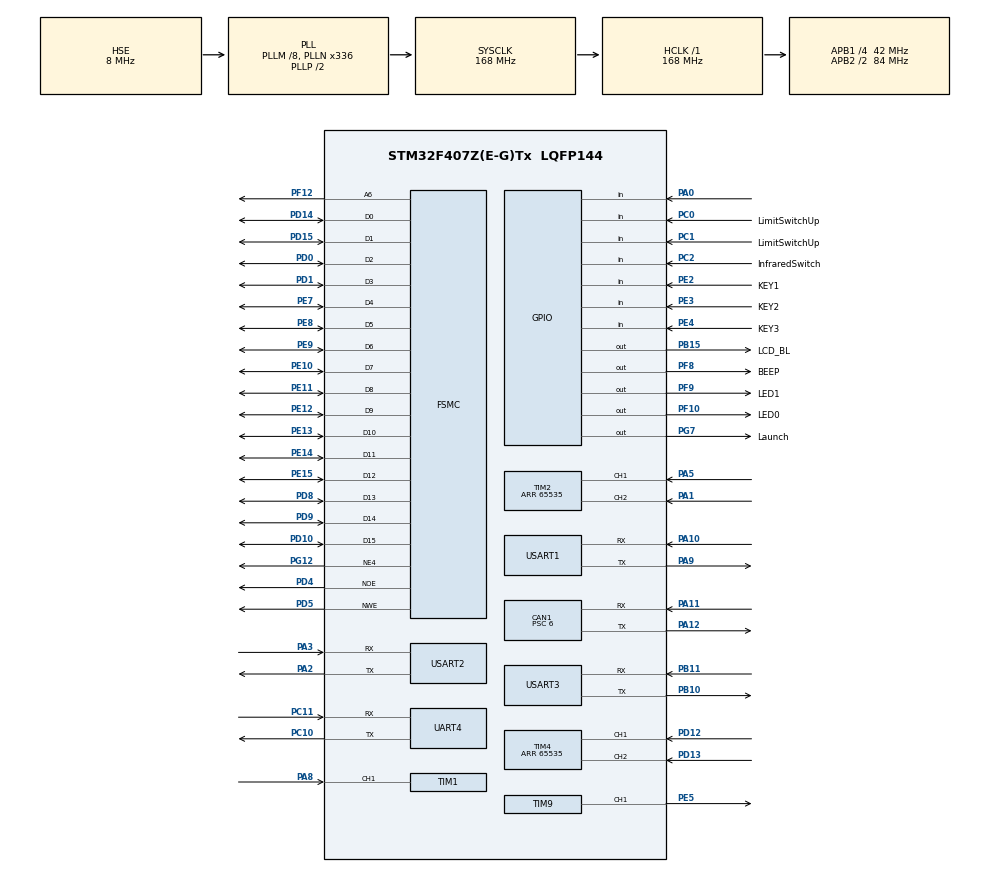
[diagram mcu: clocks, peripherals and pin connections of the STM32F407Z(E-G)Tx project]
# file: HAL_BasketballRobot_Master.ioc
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CAN1.ABOM=ENABLE
CAN1.BS1=CAN_BS1_2TQ
CAN1.BS2=CAN_BS2_4TQ
CAN1.CalculateTimeQuantum=142.85714285714286
CAN1.Prescaler=6
CAN1.TXFP=ENABLE
FSMC.BusTurnAroundDuration1=0
FSMC.DataSetupTime1=60
FSMC.ExtendedAddressSetupTime1=3
FSMC.ExtendedBusTurnAroundDuration1=0
FSMC.ExtendedDataSetupTime1=2
FSMC.ExtendedMode1=FSMC_EXTENDED_MODE_ENABLE
Mcu.Family=STM32F4
Mcu.Name=STM32F407Z(E-G)Tx
Mcu.Package=LQFP144
NVIC.CAN1_RX0_IRQn=true\:0\:3\:true\:false\:true\:true
NVIC.CAN1_TX_IRQn=true\:0\:0\:false\:false\:true\:true
NVIC.PriorityGroup=NVIC_PRIORITYGROUP_2
NVIC.TIM1_CC_IRQn=true\:0\:2\:false\:false\:true\:true
NVIC.TIM1_UP_TIM10_IRQn=true\:0\:3\:false\:false\:true\:true
NVIC.TIM5_IRQn=true\:0\:1\:true\:false\:true\:true
NVIC.UART4_IRQn=true\:1\:1\:true\:false\:true\:true
NVIC.USART1_IRQn=true\:0\:2\:true\:false\:true\:true
NVIC.USART2_IRQn=true\:0\:0\:true\:false\:true\:true
NVIC.USART3_IRQn=true\:0\:1\:true\:false\:true\:true
PA0-WKUP.GPIO_Mode=GPIO_MODE_INPUT
PA0-WKUP.GPIO_PuPd=GPIO_NOPULL
PA0-WKUP.Signal=GPIO_Input
PA1.GPIO_ModeDefaultPP=GPIO_MODE_AF_PP
PA1.GPIO_PuPd=GPIO_NOPULL
PA1.GPIO_Speed=GPIO_SPEED_FREQ_LOW
PA1.Signal=S_TIM2_CH2
PA10.Mode=Asynchronous
PA10.Signal=USART1_RX
PA11.GPIO_Mode=GPIO_MODE_AF_PP
PA11.GPIO_PuPd=GPIO_NOPULL
PA11.GPIO_Speed=GPIO_SPEED_FREQ_VERY_HIGH
PA11.Mode=Master
PA11.Signal=CAN1_RX
PA12.GPIO_Mode=GPIO_MODE_AF_PP
PA12.GPIO_PuPd=GPIO_NOPULL
PA12.GPIO_Speed=GPIO_SPEED_FREQ_VERY_HIGH
PA12.Mode=Master
PA12.Signal=CAN1_TX
PA13.Mode=JTAG_5_pins
PA13.Signal=SYS_JTMS-SWDIO
PA14.Mode=JTAG_5_pins
PA14.Signal=SYS_JTCK-SWCLK
PA15.Mode=JTAG_5_pins
PA15.Signal=SYS_JTDI
PA2.Mode=Asynchronous
PA2.Signal=USART2_TX
PA3.Mode=Asynchronous
PA3.Signal=USART2_RX
PA5.GPIO_ModeDefaultPP=GPIO_MODE_AF_PP
PA5.GPIO_PuPd=GPIO_NOPULL
PA5.GPIO_Speed=GPIO_SPEED_FREQ_LOW
PA5.Signal=S_TIM2_CH1_ETR
PA8.GPIO_ModeDefaultPP=GPIO_MODE_AF_PP
PA8.GPIO_PuPd=GPIO_NOPULL
PA8.GPIO_Speed=GPIO_SPEED_FREQ_LOW
PA8.Signal=S_TIM1_CH1
PA9.Mode=Asynchronous
PA9.Signal=USART1_TX
PB10.Mode=Asynchronous
PB10.Signal=USART3_TX
PB11.Mode=Asynchronous
PB11.Signal=USART3_RX
PB15.GPIO_Label=LCD_BL
PB15.GPIO_ModeDefaultOutputPP=GPIO_MODE_OUTPUT_PP
PB15.GPIO_PuPd=GPIO_PULLUP
PB15.GPIO_Speed=GPIO_SPEED_FREQ_HIGH
PB15.PinState=GPIO_PIN_RESET
PB15.Signal=GPIO_Output
PB3.Mode=JTAG_5_pins
PB3.Signal=SYS_JTDO-SWO
PB4.Mode=JTAG_5_pins
PB4.Signal=SYS_JTRST
PC0.GPIO_Label=LimitSwitchUp
PC0.GPIO_Mode=GPIO_MODE_INPUT
PC0.GPIO_PuPd=GPIO_PULLUP
PC0.Signal=GPIO_Input
PC1.GPIO_Label=LimitSwitchUp
PC1.GPIO_Mode=GPIO_MODE_INPUT
PC1.GPIO_PuPd=GPIO_PULLUP
PC1.Signal=GPIO_Input
PC10.Mode=Asynchronous
PC10.Signal=UART4_TX
PC11.Mode=Asynchronous
PC11.Signal=UART4_RX
PC2.GPIO_Label=InfraredSwitch
PC2.GPIO_Mode=GPIO_MODE_INPUT
PC2.GPIO_PuPd=GPIO_PULLUP
PC2.Signal=GPIO_Input
PD0.GPIO_Mode=GPIO_MODE_AF_PP
PD0.GPIO_PuPd=GPIO_PULLUP
PD0.GPIO_Speed_High_Default=GPIO_SPEED_FREQ_VERY_HIGH
PD0.Signal=FSMC_D2_DA2
PD1.GPIO_Mode=GPIO_MODE_AF_PP
PD1.GPIO_PuPd=GPIO_PULLUP
PD1.GPIO_Speed_High_Default=GPIO_SPEED_FREQ_VERY_HIGH
PD1.Signal=FSMC_D3_DA3
PD10.GPIO_Mode=GPIO_MODE_AF_PP
PD10.GPIO_PuPd=GPIO_PULLUP
PD10.GPIO_Speed_High_Default=GPIO_SPEED_FREQ_VERY_HIGH
PD10.Signal=FSMC_D15_DA15
PD12.GPIO_ModeDefaultPP=GPIO_MODE_AF_PP
PD12.GPIO_PuPd=GPIO_NOPULL
PD12.GPIO_Speed=GPIO_SPEED_FREQ_LOW
PD12.Signal=S_TIM4_CH1
PD13.GPIO_ModeDefaultPP=GPIO_MODE_AF_PP
PD13.GPIO_PuPd=GPIO_NOPULL
PD13.GPIO_Speed=GPIO_SPEED_FREQ_LOW
PD13.Signal=S_TIM4_CH2
PD14.GPIO_Mode=GPIO_MODE_AF_PP
PD14.GPIO_PuPd=GPIO_PULLUP
PD14.GPIO_Speed_High_Default=GPIO_SPEED_FREQ_VERY_HIGH
PD14.Signal=FSMC_D0_DA0
PD15.GPIO_Mode=GPIO_MODE_AF_PP
PD15.GPIO_PuPd=GPIO_PULLUP
PD15.GPIO_Speed_High_Default=GPIO_SPEED_FREQ_VERY_HIGH
PD15.Signal=FSMC_D1_DA1
PD4.GPIO_Mode=GPIO_MODE_AF_PP
PD4.GPIO_PuPd=GPIO_PULLUP
PD4.GPIO_Speed_High_Default=GPIO_SPEED_FREQ_VERY_HIGH
PD4.Signal=FSMC_NOE
PD5.GPIO_Mode=GPIO_MODE_AF_PP
PD5.GPIO_PuPd=GPIO_PULLUP
PD5.GPIO_Speed_High_Default=GPIO_SPEED_FREQ_VERY_HIGH
PD5.Signal=FSMC_NWE
PD8.GPIO_Mode=GPIO_MODE_AF_PP
PD8.GPIO_PuPd=GPIO_PULLUP
PD8.GPIO_Speed_High_Default=GPIO_SPEED_FREQ_VERY_HIGH
PD8.Signal=FSMC_D13_DA13
PD9.GPIO_Mode=GPIO_MODE_AF_PP
PD9.GPIO_PuPd=GPIO_PULLUP
PD9.GPIO_Speed_High_Default=GPIO_SPEED_FREQ_VERY_HIGH
PD9.Signal=FSMC_D14_DA14
PE10.GPIO_Mode=GPIO_MODE_AF_PP
PE10.GPIO_PuPd=GPIO_PULLUP
PE10.GPIO_Speed_High_Default=GPIO_SPEED_FREQ_VERY_HIGH
PE10.Signal=FSMC_D7_DA7
PE11.GPIO_Mode=GPIO_MODE_AF_PP
PE11.GPIO_PuPd=GPIO_PULLUP
PE11.GPIO_Speed_High_Default=GPIO_SPEED_FREQ_VERY_HIGH
PE11.Signal=FSMC_D8_DA8
PE12.GPIO_Mode=GPIO_MODE_AF_PP
PE12.GPIO_PuPd=GPIO_PULLUP
PE12.GPIO_Speed_High_Default=GPIO_SPEED_FREQ_VERY_HIGH
PE12.Signal=FSMC_D9_DA9
PE13.GPIO_Mode=GPIO_MODE_AF_PP
PE13.GPIO_PuPd=GPIO_PULLUP
PE13.GPIO_Speed_High_Default=GPIO_SPEED_FREQ_VERY_HIGH
PE13.Signal=FSMC_D10_DA10
PE14.GPIO_Mode=GPIO_MODE_AF_PP
PE14.GPIO_PuPd=GPIO_PULLUP
PE14.GPIO_Speed_High_Default=GPIO_SPEED_FREQ_VERY_HIGH
PE14.Signal=FSMC_D11_DA11
PE15.GPIO_Mode=GPIO_MODE_AF_PP
PE15.GPIO_PuPd=GPIO_PULLUP
PE15.GPIO_Speed_High_Default=GPIO_SPEED_FREQ_VERY_HIGH
PE15.Signal=FSMC_D12_DA12
PE2.GPIO_Label=KEY1
PE2.GPIO_Mode=GPIO_MODE_INPUT
PE2.GPIO_PuPd=GPIO_NOPULL
PE2.Signal=GPIO_Input
PE3.GPIO_Label=KEY2
PE3.GPIO_Mode=GPIO_MODE_INPUT
PE3.GPIO_PuPd=GPIO_NOPULL
PE3.Signal=GPIO_Input
PE4.GPIO_Label=KEY3
PE4.GPIO_Mode=GPIO_MODE_INPUT
PE4.GPIO_PuPd=GPIO_NOPULL
PE4.Signal=GPIO_Input
PE5.GPIO_ModeDefaultPP=GPIO_MODE_AF_PP
PE5.GPIO_PuPd=GPIO_PULLUP
PE5.GPIO_Speed=GPIO_SPEED_FREQ_HIGH
PE5.Signal=S_TIM9_CH1
PE7.GPIO_Mode=GPIO_MODE_AF_PP
PE7.GPIO_PuPd=GPIO_PULLUP
PE7.GPIO_Speed_High_Default=GPIO_SPEED_FREQ_VERY_HIGH
PE7.Signal=FSMC_D4_DA4
PE8.GPIO_Mode=GPIO_MODE_AF_PP
PE8.GPIO_PuPd=GPIO_PULLUP
PE8.GPIO_Speed_High_Default=GPIO_SPEED_FREQ_VERY_HIGH
PE8.Signal=FSMC_D5_DA5
PE9.GPIO_Mode=GPIO_MODE_AF_PP
PE9.GPIO_PuPd=GPIO_PULLUP
PE9.GPIO_Speed_High_Default=GPIO_SPEED_FREQ_VERY_HIGH
PE9.Signal=FSMC_D6_DA6
PF10.GPIO_Label=LED0
PF10.GPIO_ModeDefaultOutputPP=GPIO_MODE_OUTPUT_PP
PF10.GPIO_PuPd=GPIO_PULLUP
PF10.GPIO_Speed=GPIO_SPEED_FREQ_HIGH
PF10.PinState=GPIO_PIN_RESET
PF10.Signal=GPIO_Output
PF12.GPIO_Mode=GPIO_MODE_AF_PP
PF12.GPIO_PuPd=GPIO_PULLUP
PF12.GPIO_Speed_High_Default=GPIO_SPEED_FREQ_VERY_HIGH
PF12.Signal=FSMC_A6
PF8.GPIO_Label=BEEP
PF8.GPIO_ModeDefaultOutputPP=GPIO_MODE_OUTPUT_PP
PF8.GPIO_PuPd=GPIO_PULLUP
PF8.GPIO_Speed=GPIO_SPEED_FREQ_HIGH
PF8.PinState=GPIO_PIN_RESET
PF8.Signal=GPIO_Output
PF9.GPIO_Label=LED1
PF9.GPIO_ModeDefaultOutputPP=GPIO_MODE_OUTPUT_PP
PF9.GPIO_PuPd=GPIO_PULLUP
PF9.GPIO_Speed=GPIO_SPEED_FREQ_HIGH
PF9.PinState=GPIO_PIN_RESET
PF9.Signal=GPIO_Output
PG12.GPIO_Mode=GPIO_MODE_AF_PP
PG12.GPIO_PuPd=GPIO_PULLUP
PG12.GPIO_Speed_High_Default=GPIO_SPEED_FREQ_VERY_HIGH
PG12.Mode=NorPsramChipSelect4_1
PG12.Signal=FSMC_NE4
PG7.GPIO_Label=Launch
PG7.GPIO_ModeDefaultOutputPP=GPIO_MODE_OUTPUT_PP
PG7.GPIO_PuPd=GPIO_PULLUP
PG7.GPIO_Speed=GPIO_SPEED_FREQ_HIGH
PG7.PinState=GPIO_PIN_RESET
PG7.Signal=GPIO_Output
PH0-OSC_IN.Mode=HSE-External-Oscillator
PH0-OSC_IN.Signal=RCC_OSC_IN
PH1-OSC_OUT.Mode=HSE-External-Oscillator
PH1-OSC_OUT.Signal=RCC_OSC_OUT
ProjectManager.HeapSize=0x200
ProjectManager.StackSize=0x400
ProjectManager.TargetToolchain=MDK-ARM V5
RCC.48MHZClocksFreq_Value=84000000
RCC.AHBFreq_Value=168000000
RCC.APB1CLKDivider=RCC_HCLK_DIV4
RCC.APB1Freq_Value=42000000
RCC.APB1TimFreq_Value=84000000
RCC.APB2CLKDivider=RCC_HCLK_DIV2
RCC.APB2Freq_Value=84000000
RCC.APB2TimFreq_Value=168000000
RCC.CortexFreq_Value=168000000
RCC.HCLKFreq_Value=168000000
RCC.HSE_VALUE=8000000
RCC.HSI_VALUE=16000000
RCC.LSE_VALUE=32768
RCC.PLLM=8
RCC.PLLN=336
RCC.PLLSourceVirtual=RCC_PLLSOURCE_HSE
RCC.SYSCLKFreq_VALUE=168000000
RCC.SYSCLKSource=RCC_SYSCLKSOURCE_PLLCLK
RCC.VCOOutputFreq_Value=336000000
SH.FSMC_A6.0=FSMC_A6,A6_1
SH.FSMC_D0_DA0.0=FSMC_D0,16b-d1
SH.FSMC_D10_DA10.0=FSMC_D10,16b-d1
SH.FSMC_D11_DA11.0=FSMC_D11,16b-d1
SH.FSMC_D12_DA12.0=FSMC_D12,16b-d1
SH.FSMC_D13_DA13.0=FSMC_D13,16b-d1
SH.FSMC_D14_DA14.0=FSMC_D14,16b-d1
SH.FSMC_D15_DA15.0=FSMC_D15,16b-d1
SH.FSMC_D1_DA1.0=FSMC_D1,16b-d1
SH.FSMC_D2_DA2.0=FSMC_D2,16b-d1
SH.FSMC_D3_DA3.0=FSMC_D3,16b-d1
SH.FSMC_D4_DA4.0=FSMC_D4,16b-d1
SH.FSMC_D5_DA5.0=FSMC_D5,16b-d1
SH.FSMC_D6_DA6.0=FSMC_D6,16b-d1
SH.FSMC_D7_DA7.0=FSMC_D7,16b-d1
SH.FSMC_D8_DA8.0=FSMC_D8,16b-d1
SH.FSMC_D9_DA9.0=FSMC_D9,16b-d1
SH.FSMC_NOE.0=FSMC_NOE,Lcd1
SH.FSMC_NWE.0=FSMC_NWE,Lcd1
SH.S_TIM1_CH1.0=TIM1_CH1,Input_Capture1_from_TI1
SH.S_TIM2_CH1_ETR.0=TIM2_CH1,Encoder_Interface
SH.S_TIM2_CH2.0=TIM2_CH2,Encoder_Interface
SH.S_TIM4_CH1.0=TIM4_CH1,Encoder_Interface
SH.S_TIM4_CH2.0=TIM4_CH2,Encoder_Interface
SH.S_TIM9_CH1.0=TIM9_CH1,PWM Generation1 CH1
TIM1.Channel-Input_Capture1_from_TI1=TIM_CHANNEL_1
TIM1.ICFilter_CH1=3
TIM1.Period=9999
TIM1.Prescaler=167
TIM2.EncoderMode=TIM_ENCODERMODE_TI12
TIM2.IC1Filter=5
TIM2.IC2Filter=5
TIM2.Period=65535
TIM4.EncoderMode=TIM_ENCODERMODE_TI12
TIM4.IC1Filter=5
TIM4.IC2Filter=5
TIM4.Period=65535
TIM5.Period=999
TIM5.Prescaler=83
TIM9.Channel-PWM\ Generation1\ CH1=TIM_CHANNEL_1
UART4.VirtualMode=Asynchronous
USART1.VirtualMode=VM_ASYNC
USART2.VirtualMode=VM_ASYNC
USART3.VirtualMode=VM_ASYNC
VP_TIM1_VS_ClockSourceINT.Mode=Internal
VP_TIM5_VS_ClockSourceINT.Mode=Internal
VP_TIM9_VS_ClockSourceINT.Mode=Internal
board=custom

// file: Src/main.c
/* USER CODE BEGIN Header */
/**
  ******************************************************************************
  * @file           : main.c
  * @brief          : Main program body
  ******************************************************************************
  ** This notice applies to any and all portions of this file
  * that are not between comment pairs USER CODE BEGIN and
  * USER CODE END. Other portions of this file, whether
  * inserted by the user or by software development tools
  * are owned by their respective copyright owners.
  *
  * COPYRIGHT(c) 2018 STMicroelectronics
  *
  * Redistribution and use in source and binary forms, with or without modification,
  * are permitted provided that the following conditions are met:
  *   1. Redistributions of source code must retain the above copyright notice,
  *      this list of conditions and the following disclaimer.
  *   2. Redistributions in binary form must reproduce the above copyright notice,
  *      this list of conditions and the following disclaimer in the documentation
  *      and/or other materials provided with the distribution.
  *   3. Neither the name of STMicroelectronics nor the names of its contributors
  *      may be used to endorse or promote products derived from this software
  *      without specific prior written permission.
  *
  * THIS SOFTWARE IS PROVIDED BY THE COPYRIGHT HOLDERS AND CONTRIBUTORS "AS IS"
  * AND ANY EXPRESS OR IMPLIED WARRANTIES, INCLUDING, BUT NOT LIMITED TO, THE
  * IMPLIED WARRANTIES OF MERCHANTABILITY AND FITNESS FOR A PARTICULAR PURPOSE ARE
  * DISCLAIMED. IN NO EVENT SHALL THE COPYRIGHT HOLDER OR CONTRIBUTORS BE LIABLE
  * FOR ANY DIRECT, INDIRECT, INCIDENTAL, SPECIAL, EXEMPLARY, OR CONSEQUENTIAL
  * DAMAGES (INCLUDING, BUT NOT LIMITED TO, PROCUREMENT OF SUBSTITUTE GOODS OR
  * SERVICES; LOSS OF USE, DATA, OR PROFITS; OR BUSINESS INTERRUPTION) HOWEVER
  * CAUSED AND ON ANY THEORY OF LIABILITY, WHETHER IN CONTRACT, STRICT LIABILITY,
  * OR TORT (INCLUDING NEGLIGENCE OR OTHERWISE) ARISING IN ANY WAY OUT OF THE USE
  * OF THIS SOFTWARE, EVEN IF ADVISED OF THE POSSIBILITY OF SUCH DAMAGE.
  *
  ******************************************************************************
  */
/* USER CODE END Header */

#include "main.h"
#include "can.h"
#include "tim.h"
#include "usart.h"
#include "gpio.h"
#include "fsmc.h"

/* USER CODE BEGIN Includes */
#include "control.h"
#include "math.h"
#include "mpu6050.h"
#include "lcd.h"
#include "delay.h"
#include "remote.h"
#include "get_info.h"

/* USER CODE END Includes */

void SystemClock_Config(void);

/* USER CODE BEGIN 0 */
u8 zhongquan_case;
u8 changdi;
u8 chengxu;
u8 sanfen_case;
/* USER CODE END 0 */

int main(void)
{
  /* USER CODE BEGIN 1 */
    u8 i = 0;
  /* USER CODE END 1 */

  /* MCU Configuration--------------------------------------------------------*/

  /* Reset of all peripherals, Initializes the Flash interface and the Systick. */
  HAL_Init();

  /* Configure the system clock */
  SystemClock_Config();

  /* USER CODE BEGIN SysInit */
  delay_init(168);
  /* USER CODE END SysInit */

  /* Initialize all configured peripherals */
  MX_GPIO_Init();
  MX_CAN1_Init();
  MX_FSMC_Init();
  MX_USART1_UART_Init();
  MX_USART2_UART_Init();
  MX_USART3_UART_Init();
  MX_TIM1_Init();
  MX_TIM4_Init();
  MX_TIM9_Init();
  MX_TIM5_Init();
  MX_TIM2_Init();
  MX_UART4_Init();
  /* USER CODE BEGIN 2 */
  HAL_SRAM_MspInit(&hsram1);
  Control_Init();
  CAN1_Init();
  AllPID_Init();
  LCD_Init();
  LCD_Show_Title();
  //选择上位机PID调参对象
  rxPID.pidAdjust = &(Motor[3].SpeedPID);

//  Set_MotorSpeed(1000,-1000,-1000,1000);
//  delay_ms(5000);
//  RobotRotate(360);
//  RobotRotate_circle();

	//RobotRotate(180);
//	RobotRotate_circle();

//  RobotGoTo(-0.1,0,0);

//  RobotGoAvoidance();

//	HAL_GPIO_WritePin(BEEP_GPIO_Port,BEEP_Pin,GPIO_PIN_SET);
//	delay_ms(400);
//	HAL_GPIO_WritePin(BEEP_GPIO_Port,BEEP_Pin,GPIO_PIN_RESET);
//  RobotGoToDestn(0,1.0,0);
  /* USER CODE END 2 */

  /* Infinite loop */
  while (1)
  {

    /* USER CODE BEGIN 3 */
//	  err = Motor[0].AnglePID.err[NOW];
//	output[0] = Motor[0].Speed;
//	output[1] = Motor[1].Speed;
//	output[2] = Motor[2].Speed;
//	output[3] = Motor[3].Speed;
//	Motor[0].SetSpeed=100*Motor[3].AnglePID.p;
//	Motor[1].SetSpeed=-100*Motor[3].AnglePID.p;
//	Motor[2].SetSpeed=-100*Motor[3].AnglePID.p;
//	Motor[3].SetSpeed=100*Motor[3].AnglePID.p;
//
	//output[2] = Motor[0].AnglePID.get[NOW];
//	Motor[0].SetSpeed = 100;
//	output[3] = Motor[3].Speed;
//	Motor[0].SetSpeed = 500;
//	Motor[1].SetSpeed = 500;
//	Motor[2].SetSpeed = 500;
//	Motor[3].SetSpeed = 500;
//	output[0] = BasketballRobot.ThetaD - BasketballRobot.LastTheta;
//	output[3] = Motor[2].Temperature;
//	delay_ms(1000);
//	Set_MotorSpeed(0,0,0,0);
//	delay_ms(80);
//	Set_MotorSpeed(0,0,0,0);
//	delay_ms(5000);
//	RobotGoToDestn(0,2.0f,0);
//    UART_SendDataToPC(output, sizeof(output));
//	sendware(output,sizeof(output));
	RobotGoAvoidance();
	delay_ms(10);
  }
  /* USER CODE END 3 */
}

void SystemClock_Config(void)
{
  RCC_OscInitTypeDef RCC_OscInitStruct = {0};
  RCC_ClkInitTypeDef RCC_ClkInitStruct = {0};

  /**Configure the main internal regulator output voltage
  */
  __HAL_RCC_PWR_CLK_ENABLE();
  __HAL_PWR_VOLTAGESCALING_CONFIG(PWR_REGULATOR_VOLTAGE_SCALE1);
  /**Initializes the CPU, AHB and APB busses clocks
  */
  RCC_OscInitStruct.OscillatorType = RCC_OSCILLATORTYPE_HSE;
  RCC_OscInitStruct.HSEState = RCC_HSE_ON;
  RCC_OscInitStruct.PLL.PLLState = RCC_PLL_ON;
  RCC_OscInitStruct.PLL.PLLSource = RCC_PLLSOURCE_HSE;
  RCC_OscInitStruct.PLL.PLLM = 8;
  RCC_OscInitStruct.PLL.PLLN = 336;
  RCC_OscInitStruct.PLL.PLLP = RCC_PLLP_DIV2;
  RCC_OscInitStruct.PLL.PLLQ = 4;
  if (HAL_RCC_OscConfig(&RCC_OscInitStruct) != HAL_OK)
  {
    Error_Handler();
  }
  /**Initializes the CPU, AHB and APB busses clocks
  */
  RCC_ClkInitStruct.ClockType = RCC_CLOCKTYPE_HCLK|RCC_CLOCKTYPE_SYSCLK
                              |RCC_CLOCKTYPE_PCLK1|RCC_CLOCKTYPE_PCLK2;
  RCC_ClkInitStruct.SYSCLKSource = RCC_SYSCLKSOURCE_PLLCLK;
  RCC_ClkInitStruct.AHBCLKDivider = RCC_SYSCLK_DIV1;
  RCC_ClkInitStruct.APB1CLKDivider = RCC_HCLK_DIV4;
  RCC_ClkInitStruct.APB2CLKDivider = RCC_HCLK_DIV2;

  if (HAL_RCC_ClockConfig(&RCC_ClkInitStruct, FLASH_LATENCY_5) != HAL_OK)
  {
    Error_Handler();
  }
}

void Error_Handler(void)
{
}

/************************ (C) COPYRIGHT STMicroelectronics *****END OF FILE****/
